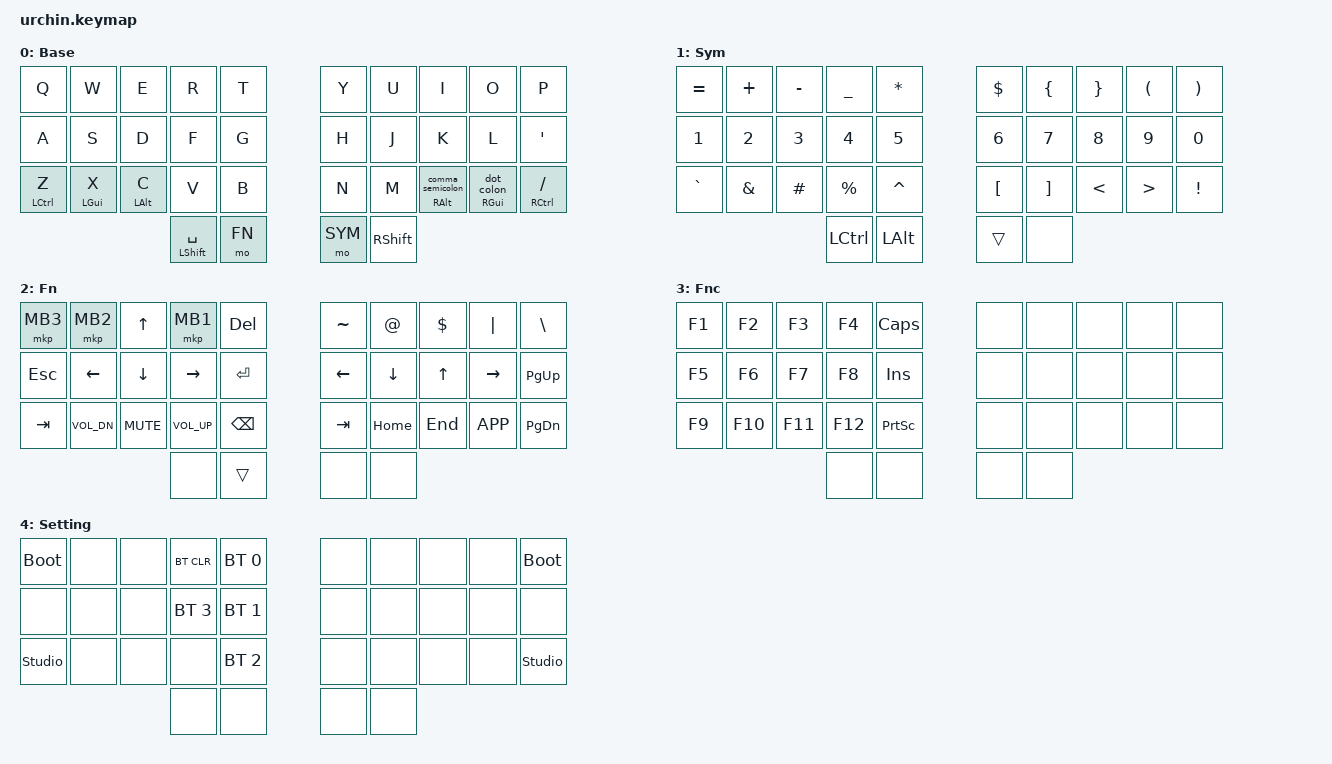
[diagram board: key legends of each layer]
/*
 * Copyright (c) 2020 duckyb
 *
 * SPDX-License-Identifier: MIT
 *
 * ============================================================================
 *  A ZMK KEYMAP, FROM SCRATCH
 * ============================================================================
 *  ZMK is a keyboard firmware. A *keymap file* like this one is the code
 *  that tells the keyboard, for every physical key, what to do.
 *
 *  The syntax is "Devicetree" (DT), the file format used by the Zephyr OS
 *  that ZMK is built on. Don't let the {} / ; / <> scare you — you only need
 *  to recognize the small set of patterns used in this file.
 *
 *  Core concepts (they'll keep popping up below):
 *
 *    BEHAVIOR   = "what a key is capable of doing". Examples:
 *                   &kp        key press: type a single key
 *                   &mo        momentary layer: hold = switch layer
 *                   &sl        sticky layer: tap = switch layer until a key
 *                   &sk        sticky key: a modifier that sticks for one key
 *                   &lt        layer-tap: tap = a key, hold = a layer
 *                   &trans     transparent: pass this key to the lower layer
 *                   &none      do absolutely nothing
 *                   &bootloader  reopen the USB bootloader (to flash)
 *                   &bt        bluetooth control (profiles, forget)
 *
 *    BINDING    = one entry inside a layer, i.e. "behavior + arguments",
 *                 for example  &kp A   or   &mo 1   or   &lt (2) E .
 *
 *    LAYER      = a complete set of bindings: one per physical key,
 *                 collected under bindings = < ... >; inside a node like
 *                 default_layer { ... };.
 *                 Layers are numbered; layer 0 is the default/springboard.
 *                 Layers can be ACTIVE at the same time; the lowest number
 *                 wins, but bindings marked &trans let a key fall through
 *                 to the next-lower layer.
 *
 *    COMBOS     = press 2+ keys together (like a chord) to trigger binding,
 *                 e.g. the two thumbs together -> Accent layer.
 *
 *    MACRO      = a behavior that plays a sequence of bindings in order.
 *                 (A ZMK "macro" is NOT the same as a #define macro!)
 *
 *    HOLD-TAP   = one key that does one thing if you TAP it (quick
 *                 press+release) and a different thing if you HOLD it (see
 *                 the custom `qt` behavior below)
 *
 * ============================================================================
 *  THE PHYSICAL LAYOUT (which position is which key)
 * ============================================================================
 *  ZMK does not know about your keyboard's row/column matrix. Instead the
 *  board (urchin.json) defines a flat list of *key positions*. For the
 *  Urchin there are 34, numbered 0..33. In a layer you must supply exactly
 *  ONE binding per position, in this order (reading line by line):
 *
 *        Position      0  1  2  3  4          5  6  7  8  9
 *        Binding       Q  W  E  R  T          Y  U  I  O  P
 *                     10 11 12 13 14         15 16 17 18 19
 *                      A  S  D  F  G          H  J  K  L  '   (SQT)
 *                     20 21 22 23 24         25 26 27 28 29
 *                      Z  X  C  V  B          N  M  ,  .  /   (hold: Z=LCTRL X=LGUI C=LALT ,=RALT .=RGUI /=RCTRL)
 *                                30 31       32 33          <-- thumbs
 *
 *   Thumb keys:
 *     30 = inner-left thumb     32 = outer-right thumb
 *     31 = outer-left thumb     33 = inner-right thumb
 *
 *  IMPORTANT: ZMK reads the bindings as one long sequential list, exactly
 *  left-to-right, line-by-line. The extra spaces/tabs/gaps between the two
 *  hands in the code below are only cosmetic — they help *you* read it.
 */

// ============================================================================
//  INCLUDES   (they pull in the definitions we will use)
// ============================================================================

//  Behaviors: defines &kp &mo, &sl, &lt, &sk, &trans, &none, &bt, etc.
//  Without this include, none of those behavior names exist yet.
#include <behaviors.dtsi>

//  Key names: Q W E ... A ... F1..F12, N1..N0, COMMA DOT SEMI, modifiers
//  (LSHIFT LCTRL LALT LGUI ...), regular keys: BSPC DEL TAB ESC ENTER SPACE
#include <dt-bindings/zmk/keys.h>

//  Bluetooth behavior, e.g. &bt BT_SEL 0 (choose host #0), &bt BT_CLR ...
#include <dt-bindings/zmk/bt.h>

//  Mouse scroll/button defines: SCRL_UP, SCRL_DOWN, MB1/MB2/MB3
#include <dt-bindings/zmk/pointing.h>




// ============================================================================
//  LAYER NUMBERS
// ============================================================================
//  This is the C-preprocessor #define: pure text replacement — everywhere
//  below we write "SYM2" it becomes the number "4" before compilation.
//  Giving layers names like this makes the keymap 10x more readable.
//  Layer 0 is ALWAYS the default layer (the boot layer).
#define BASE 0        // alpha QWERTY: your main typing layer
#define SYM 1         // numbers & high-frequency symbols (&sl SYM sticks here)
#define FN 2         // modifiers, arrows & navigation keys
#define FNC 3         // F1..F12 "function" row, media, print screen
#define SETTINGS 4   // Bluetooth, bootloader, reset helpers
// -----------------

/ {  // Everything from here belongs to the very top ("root") DT node.
  // We are going to define the custom behaviors & the keymap under it.

  // ==========================================================================
  //  CUSTOM BEHAVIORS : "hold-tap" quick-tap key (the `qt` behavior)
  // ==========================================================================
  //  A behavior simply says "when a key bound to me is pressed, do this".
  //  `hold-tap` is the single most powerful idea in ZMK: one key, two jobs.
  //  - you press AND HOLD longer than `tapping-term-ms` → the "hold" binding
  //    fires while it stays down,
  //  - you press and release quickly (a TAP) → the "tap" binding fires.
  behaviors {
    //  This defines the behavior named `qt`. We’ll use it as `&qt <hold> <tap>`.
    qt: quick_tap {
      // "zmk,behavior-hold-tap" — tells ZMK this is the built-in hold-tap
      // type (we only customised a few parameters).
      compatible = "zmk,behavior-hold-tap";
      // A human-readable name, useful in keyboard diagnostics / tools.
      label = "QUICK_TAP";
      // (#binding-cells): a behavior can take a NUMBER of arguments.
      // With <2>, the binding is written as `&qt <arg1> <arg2>`
      // (two arguments separately by a space). arg1 is passed to the
      // FIRST binding below (the "hold" one), arg2 to the SECOND ("tap").
      #binding-cells = <2>;
      // "flavor" decides WHO wins on ambiguous releases.
      //   "hold-preferred": any other key press turns this into a hold
      //     immediately, which misfires while rolling keys (e.g. a fast
      //     "zx" becomes Shift+X).
      //   "balanced": a tap wins if the other key is released first, so
      //     ordinary rolls stay letters while deliberate holds still work.
      // Every &qt tap here is a letter (or SLASH), so "balanced" is the
      // right trade-off for home-row mods.
      flavor = "balanced";
      // A press must be released inside this many ms to count as a "tap":
      // (tapping-term-ms = 180) → release within 180ms = tap, else hold.
      tapping-term-ms = <180>;
      // After a tap, quick-tap-ms waits this long for a SECOND quick tap.
      // If a tap happens within that window, it is registered as another
      // TAP (not a hold) even while you were holding modifiers. Useful
      // when typing double-spaces or jumping Mod-tap "space" quickly.
      quick-tap-ms = <180>;
      // The two "sub-behaviors": bindings[0] = on hold, bindings[1] = on tap.
      // Here both are plain &kp so `&qt LSHIFT SPACE` = hold Shift, tap Space.
      bindings = <&kp>, <&kp>;
    };

    //  Custom layer-tap for the three thumb keys, identical to the built-in
    //  `&lt` (hold = &mo layer, tap = &kp key) but with a shorter 180ms
    //  tapping term so layer activation matches the `qt` home-row mods.
    //  The built-in `&lt` hardcodes tapping-term-ms = <200> and cannot be
    //  changed from urchin.conf, so we define our own here.
    ltalt: layer_tap_alt {
      compatible = "zmk,behavior-hold-tap";
      label = "LAYER_TAP_180";
      #binding-cells = <2>;
      // Built-in `&lt` uses "tap-preferred": any other key press makes the
      // layer stick immediately. Kept the same so thumb layers feel normal.
      flavor = "tap-preferred";
      tapping-term-ms = <180>;
      quick-tap-ms = <180>;
      // bindings[0] = hold (momentary layer), bindings[1] = tap (key press).
      bindings = <&mo>, <&kp>;
    };

    dot_colon: dot_colon {
      compatible = "zmk,behavior-mod-morph";
      #binding-cells = <0>;
      bindings = <&kp DOT>, <&kp COLON>;
      mods = <(MOD_LSFT|MOD_RSFT)>;
    };

    comma_semicolon: comma_semicolon {
      compatible = "zmk,behavior-mod-morph";
      #binding-cells = <0>;
      bindings = <&kp COMMA>, <&kp SEMI>;
      mods = <(MOD_LSFT|MOD_RSFT)>;
    };

    comma_semicolon_ht: comma_semicolon_ht {
      compatible = "zmk,behavior-hold-tap";
      label = "COMMA_SEMICOLON_HT";
      #binding-cells = <2>;
      flavor = "balanced";
      tapping-term-ms = <180>;
      quick-tap-ms = <180>;
      bindings = <&kp>, <&comma_semicolon>;
    };

    dot_colon_ht: dot_colon_ht {
      compatible = "zmk,behavior-hold-tap";
      label = "DOT_COLON_HT";
      #binding-cells = <2>;
      flavor = "balanced";
      tapping-term-ms = <180>;
      quick-tap-ms = <180>;
      bindings = <&kp>, <&dot_colon>;
    };
  }; // end behaviors

  // ==========================================================================
  //  MACROS : a tiny script that types out a sequence of key events
  // ==========================================================================
  //  A "macro" is a real behavior: its `bindings` are played one after the
  //  other, each as press-then-release (press down, release up, next...).
  macros {
    // Just a comment about why it exists:
    // Sometimes the computer forgets that a modifier key was RELEASED and
    // behaves as if it’s still held (e.g. "c" types as "C"). Physically
    // pressing & releasing each of the eight modifiers once, in order,
    // re-syncs the host OS state. `&unstick` does exactly that.
    unstick: unstick {
      label = "ZM_unstick";
      compatible = "zmk,behavior-macro";
      #binding-cells = <0>;      // no arguments: write bare "&unstick"
      // press & release LSHIFT, RSHIFT, LCTRL, RCTRL, LALT, RALT, LGUI, RGUI
      bindings = <&kp LSHIFT &kp RSHIFT &kp LCTRL &kp RCTRL &kp LALT &kp RALT &kp LGUI &kp RGUI>;
    };
  };

  // ==========================================================================
  //  COMBOS : chording several keys at once
  // ==========================================================================
  //  A combo fires when all given `key-positions` are pressed within
  //  `timeout-ms`. Positions here are the *logical positions* (0..33)
  //  we drew at the very top, NOT the row/column of the matrix.
  combos {
    compatible = "zmk,combos";
    // both left thumb keys
    combo_settings {
      timeout-ms = <200>;
      key-positions = <30 31>;
      bindings = <&mo SETTINGS>;
    };

    // both right thumb keys -> momentary FNC
    combo_fnc {
      timeout-ms = <200>;
      key-positions = <32 33>;
      bindings = <&mo FNC>;
    };
  };

  // ==========================================================================
  //  THE KEYMAP : every layer of the keyboard
  // ==========================================================================
  //  Remember: we have 34 physical keys, so EVERY layer here must have
  //  exactly 34 bindings (top row 10, home row 10, bottom row 10, thumbs 4).
  //  The extra whitespace / gaps between the two hand columns don't matter
  //  to ZMK — it just reads bindings left-to-right, top-to-bottom.
  keymap {
    compatible = "zmk,keymap";

    default_layer {
      label = "Base";
      bindings = <
      &kp Q        &kp W       &kp E       &kp R      &kp T             &kp Y &kp U       &kp I                       &kp O                &kp P
      &kp A        &kp S       &kp D       &kp F      &kp G             &kp H &kp J       &kp K                       &kp L                &kp SQT
      &qt LCTRL Z &qt LGUI X  &qt LALT C &kp V &kp B                    &kp N &kp M       &comma_semicolon_ht RALT 0 &dot_colon_ht RGUI 0 &qt RCTRL SLASH
                                  &qt LSHIFT SPACE   &mo FN          &mo SYM           &kp RSHIFT
      >;
    };

    sym_layer {
      label = "Sym";
      bindings = <
      &kp EQUAL &kp PLUS &kp MINUS &kp UNDERSCORE &kp ASTERISK                                    &kp DOLLAR &kp LEFT_BRACE &kp RIGHT_BRACE &kp LEFT_PARENTHESIS &kp RIGHT_PARENTHESIS
      &kp N1         &kp N2 &kp N3 &kp N4 &kp N5                                                  &kp N6 &kp N7 &kp N8 &kp N9 &kp N0
      &kp GRAVE &kp AMPERSAND &kp POUND &kp PERCENT &kp CARET                                     &kp LEFT_BRACKET &kp RIGHT_BRACKET &kp LESS_THAN &kp GREATER_THAN &kp EXCLAMATION
                                  &kp LCTRL  &kp LALT      &trans      &none
      >;
    };

    fn_layer {
      label = "Fn";
      bindings = <
      &mkp MB3    &mkp MB2       &kp UP_ARROW   &mkp MB1        &kp DELETE             &kp TILDE &kp AT_SIGN &kp DOLLAR &kp PIPE &kp BACKSLASH
      &kp ESC     &kp LEFT_ARROW &kp DOWN_ARROW &kp RIGHT_ARROW &kp ENTER              &kp LEFT_ARROW  &kp DOWN_ARROW &kp UP_ARROW  &kp RIGHT_ARROW  &kp PG_UP
      &kp TAB     &kp C_VOL_DN   &kp C_MUTE     &kp C_VOL_UP    &kp BACKSPACE          &kp TAB &kp HOME &kp END &kp K_APP &kp PG_DN
                                  &none  &trans    &none &none
      >;
    };

    fnc_layer {
      label = "Fnc";
      bindings = <
         &kp F1  &kp F2   &kp F3  &kp F4     &kp CAPSLOCK          &none &none &none &none &none
         &kp F5  &kp F6   &kp F7  &kp F8     &kp INSERT            &none &none &none &none &none
         &kp F9  &kp F10  &kp F11 &kp F12    &kp PRINTSCREEN       &none &none &none &none &none
         &none &none                           &none &none
      >;
    };

    settings_layer {
        label = "Setting";
        bindings = <
        &bootloader    &none &none &bt BT_CLR   &bt BT_SEL 0                &none &none &none &none &bootloader
        &none          &none &none &bt BT_SEL 3 &bt BT_SEL 1                &none &none &none &none &none
        &studio_unlock &none &none &none        &bt BT_SEL 2                &none &none &none &none &studio_unlock
                    &none &none   &none &none
        >;
    };
  };
};
